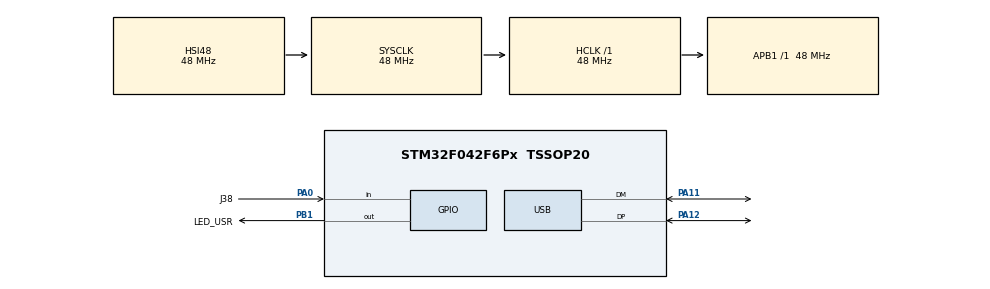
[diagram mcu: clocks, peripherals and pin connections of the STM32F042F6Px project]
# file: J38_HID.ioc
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Mcu.Family=STM32F0
Mcu.Name=STM32F042F6Px
Mcu.Package=TSSOP20
NVIC.USB_IRQn=true\:0\:0\:false\:false\:true\:false\:true
PA0.GPIO_Label=J38
PA0.GPIO_PuPd=GPIO_PULLUP
PA0.Signal=GPIO_Input
PA11.Mode=Device
PA11.Signal=USB_DM
PA12.Mode=Device
PA12.Signal=USB_DP
PB1.GPIO_Label=LED_USR
PB1.Signal=GPIO_Output
ProjectManager.HeapSize=0x200
ProjectManager.StackSize=0x400
ProjectManager.TargetToolchain=STM32CubeIDE
RCC.AHBFreq_Value=48000000
RCC.APB1Freq_Value=48000000
RCC.APB1TimFreq_Value=48000000
RCC.HCLKFreq_Value=48000000
RCC.SYSCLKFreq_VALUE=48000000
RCC.SYSCLKSource=RCC_SYSCLKSOURCE_HSI48
USB_DEVICE.CLASS_NAME_FS=HID
USB_DEVICE.VirtualMode=Hid
USB_DEVICE.VirtualModeFS=Hid_FS
VP_SYS_VS_PINREMAP.Mode=PINREMAP
VP_USB_DEVICE_VS_USB_DEVICE_HID_FS.Mode=HID_FS
board=custom

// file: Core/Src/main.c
/* USER CODE BEGIN Header */
/**
  ******************************************************************************
  * @file           : main.c
  * @brief          : Main program body
  ******************************************************************************
  * @attention
  *
  * <h2><center>&copy; Copyright (c) 2023 STMicroelectronics.
  * All rights reserved.</center></h2>
  *
  * This software component is licensed by ST under BSD 3-Clause license,
  * the "License"; You may not use this file except in compliance with the
  * License. You may obtain a copy of the License at:
  *                        opensource.org/licenses/BSD-3-Clause
  *
  ******************************************************************************
  */
/* USER CODE END Header */
#include "main.h"
#include "usb_device.h"
#include "gpio.h"

/* USER CODE BEGIN Includes */
#include "usbd_hid.h"

/* USER CODE END Includes */

/* USER CODE BEGIN PV */

extern USBD_HandleTypeDef hUsbDeviceFS;

uint8_t HID_report_buf[8] = { 0 };

/* USER CODE END PV */

void SystemClock_Config(void);
/* USER CODE BEGIN PFP */

static void sendKeyDown(void);

static void sendKeyUp(void);

int keyDown = 0;

/* USER CODE END PFP */

/* USER CODE BEGIN 0 */

void sendKeyDown() {
      HAL_GPIO_WritePin(LED_USR_GPIO_Port, LED_USR_Pin, GPIO_PIN_SET);

      // Send q
	  HID_report_buf[2] =  0x14;
	  USBD_HID_SendReport(&hUsbDeviceFS, HID_report_buf, 8);
}

void sendKeyUp() {
      HAL_GPIO_WritePin(LED_USR_GPIO_Port, LED_USR_Pin, GPIO_PIN_RESET);

	  // Release key
	  HID_report_buf[2] = 0;
	  USBD_HID_SendReport(&hUsbDeviceFS, HID_report_buf, 8);
}

/* USER CODE END 0 */

int main(void)
{

  /* MCU Configuration--------------------------------------------------------*/

  /* Reset of all peripherals, Initializes the Flash interface and the Systick. */
  HAL_Init();

  /* Configure the system clock */
  SystemClock_Config();

  /* Initialize all configured peripherals */
  MX_GPIO_Init();
  MX_USB_DEVICE_Init();

  /* Infinite loop */
  /* USER CODE BEGIN WHILE */
  while (1)
  {

	  // If J38 goes low, key is down.
	  if (!keyDown && !HAL_GPIO_ReadPin(J38_GPIO_Port, J38_Pin)) {
		  keyDown = 1;
		  sendKeyDown();
	  } else {
		  keyDown = 0;
		  sendKeyUp();
	  }

	  HAL_Delay(10); // Can afford this cheapo debouncing since we're doing nothing else.
    /* USER CODE END WHILE */

  }
}

void SystemClock_Config(void)
{
  RCC_OscInitTypeDef RCC_OscInitStruct = {0};
  RCC_ClkInitTypeDef RCC_ClkInitStruct = {0};
  RCC_PeriphCLKInitTypeDef PeriphClkInit = {0};

  /** Initializes the RCC Oscillators according to the specified parameters
  * in the RCC_OscInitTypeDef structure.
  */
  RCC_OscInitStruct.OscillatorType = RCC_OSCILLATORTYPE_HSI48;
  RCC_OscInitStruct.HSI48State = RCC_HSI48_ON;
  RCC_OscInitStruct.PLL.PLLState = RCC_PLL_NONE;
  if (HAL_RCC_OscConfig(&RCC_OscInitStruct) != HAL_OK)
  {
    Error_Handler();
  }
  /** Initializes the CPU, AHB and APB buses clocks
  */
  RCC_ClkInitStruct.ClockType = RCC_CLOCKTYPE_HCLK|RCC_CLOCKTYPE_SYSCLK
                              |RCC_CLOCKTYPE_PCLK1;
  RCC_ClkInitStruct.SYSCLKSource = RCC_SYSCLKSOURCE_HSI48;
  RCC_ClkInitStruct.AHBCLKDivider = RCC_SYSCLK_DIV1;
  RCC_ClkInitStruct.APB1CLKDivider = RCC_HCLK_DIV1;

  if (HAL_RCC_ClockConfig(&RCC_ClkInitStruct, FLASH_LATENCY_1) != HAL_OK)
  {
    Error_Handler();
  }
  PeriphClkInit.PeriphClockSelection = RCC_PERIPHCLK_USB;
  PeriphClkInit.UsbClockSelection = RCC_USBCLKSOURCE_HSI48;

  if (HAL_RCCEx_PeriphCLKConfig(&PeriphClkInit) != HAL_OK)
  {
    Error_Handler();
  }
}

void Error_Handler(void)
{
  __disable_irq();
  while (1)
  {
  }
}

/************************ (C) COPYRIGHT STMicroelectronics *****END OF FILE****/
